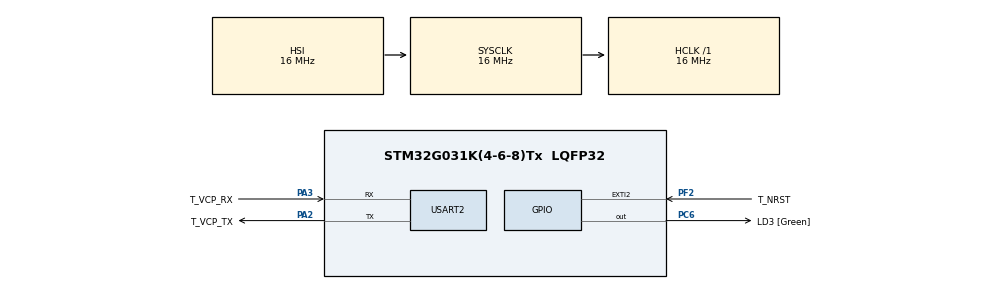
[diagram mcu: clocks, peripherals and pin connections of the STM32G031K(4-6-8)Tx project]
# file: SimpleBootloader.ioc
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Mcu.Family=STM32G0
Mcu.Name=STM32G031K(4-6-8)Tx
Mcu.Package=LQFP32
PA13.GPIO_Label=T_JTMS
PA13.Mode=Serial_Wire
PA13.Signal=SYS_SWDIO
PA14-BOOT0.GPIO_Label=T_JTCK
PA14-BOOT0.Mode=Serial_Wire
PA14-BOOT0.Signal=SYS_SWCLK
PA2.GPIO_Label=T_VCP_TX
PA2.GPIO_PuPd=GPIO_PULLUP
PA2.Mode=Asynchronous
PA2.Signal=USART2_TX
PA3.GPIO_Label=T_VCP_RX
PA3.GPIO_PuPd=GPIO_PULLUP
PA3.Mode=Asynchronous
PA3.Signal=USART2_RX
PC14-OSC32_IN\ (PC14).Mode=LSE-External-Oscillator
PC14-OSC32_IN\ (PC14).Signal=RCC_OSC32_IN
PC15-OSC32_OUT\ (PC15).Mode=LSE-External-Oscillator
PC15-OSC32_OUT\ (PC15).Signal=RCC_OSC32_OUT
PC6.GPIO_Label=LD3 [Green]
PC6.Signal=GPIO_Output
PF2\ -\ NRST.GPIO_Label=T_NRST
PF2\ -\ NRST.Signal=GPXTI2
ProjectManager.HeapSize=0x200
ProjectManager.StackSize=0x400
ProjectManager.TargetToolchain=STM32CubeIDE
RCC.AHBFreq_Value=16000000
RCC.CortexFreq_Value=16000000
RCC.EXTERNAL_CLOCK_VALUE=12288000
RCC.HCLKFreq_Value=16000000
RCC.HSE_VALUE=8000000
RCC.HSI_VALUE=16000000
RCC.SYSCLKFreq_VALUE=16000000
RCC.VCOOutputFreq_Value=128000000
USART2.VirtualMode-Asynchronous=VM_ASYNC
USART2.WordLength=WORDLENGTH_7B
board=NUCLEO-G031K8

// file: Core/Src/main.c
/* USER CODE BEGIN Header */
/**
  ******************************************************************************
  * @file           : main.c
  * @brief          : Main program body
  ******************************************************************************
  * @attention
  *
  * Copyright (c) 2026 STMicroelectronics.
  * All rights reserved.
  *
  * This software is licensed under terms that can be found in the LICENSE file
  * in the root directory of this software component.
  * If no LICENSE file comes with this software, it is provided AS-IS.
  *
  ******************************************************************************
  */
/* USER CODE END Header */
#include "main.h"

/* USER CODE BEGIN Includes */
#include "stdio.h"
/* USER CODE END Includes */

UART_HandleTypeDef huart2;

/* USER CODE BEGIN PV */
unsigned char __attribute__((section(".myBufSectionRAM"))) buf_ram[128];
unsigned char __attribute__((section(".myBufSectionFLASH"))) buf_flash[10] = { 0, 1, 2, 3, 4, 5, 6, 7, 8, 9};

#define LOCATE_FUNC __attribute__((section(".mysection")))
#define FLASH_APP_ADDR 0x8008000

struct BootloaderSharedAPI
{
	void(*Blink)(uint32_t delayticks);
	void(*TurnOn)(void);
	void(*TurnOff)(void);
};
/* USER CODE END PV */

void SystemClock_Config(void);
static void MX_GPIO_Init(void);
static void MX_USART2_UART_Init(void);
/* USER CODE BEGIN PFP */
void LOCATE_FUNC Blink(uint32_t delayticks);
void LOCATE_FUNC TurnOn(void);
void LOCATE_FUNC TurnOff(void);

void goToApplication(void);

static void (*Functions[])(uint32_t delayticks) =
{
		Blink
};
/* USER CODE END PFP */

/* USER CODE BEGIN 0 */
struct BootloaderSharedAPI api __attribute__((section(".API_SHARED"))) =
{
		Blink,
		TurnOn,
		TurnOff
};

void LOCATE_FUNC Blink(uint32_t delayticks)
{
	HAL_GPIO_TogglePin(LD3_GPIO_Port,LD3_Pin);
	HAL_Delay(delayticks);
}

void LOCATE_FUNC TurnOn(void)
{
	HAL_GPIO_WritePin(LD3_GPIO_Port, LD3_Pin, GPIO_PIN_SET);
}

void LOCATE_FUNC TurnOff(void)
{
	HAL_GPIO_WritePin(LD3_GPIO_Port, LD3_Pin, GPIO_PIN_RESET);
}

void goToApplication(void)
{
	uint32_t JumpAddress;
	void (*Jump_To_Application)(void);
	printf("BOOTLOADER Start \r\n");

	/* Check if there is something installed in the app flash region */
	if(((*(uint32_t*) FLASH_APP_ADDR) & 0x2FFE0000) == 0x20000000)
	{
		printf("APP Start ... \r\n");
		HAL_Delay(100);
		//jump to the application
		JumpAddress = *(uint32_t*) (FLASH_APP_ADDR + 4); // address of Reset_Handler in app
		Jump_To_Application = (void*)JumpAddress;
		//initialize stack pointer
		__set_MSP(*(uint32_t*)FLASH_APP_ADDR);
		Jump_To_Application();
	}
	else
	{
		//there is no application installed
		printf("No APP found \r\n");
	}
}

void __attribute__((__section__(".RamFunc"))) TurnOnLED(GPIO_PinState PinState)
{
	if(PinState != GPIO_PIN_RESET)
	{
		LD3_GPIO_Port->BSRR = (uint32_t)LD3_Pin;
	}
	else
	{
		LD3_GPIO_Port->BRR = (uint32_t)LD3_Pin;
	}
}

int _write(int file, char *ptr, int len)
{
	int DataIdx;

	for(DataIdx=0; DataIdx<len; DataIdx++)
	{
		HAL_UART_Transmit(&huart2, (uint8_t *)ptr++, 1, 100);
	}
	return len;
}
/* USER CODE END 0 */

int main(void)
{

  /* MCU Configuration--------------------------------------------------------*/

  /* Reset of all peripherals, Initializes the Flash interface and the Systick. */
  HAL_Init();

  /* Configure the system clock */
  SystemClock_Config();

  /* Initialize all configured peripherals */
  MX_GPIO_Init();
  MX_USART2_UART_Init();

  /* Infinite loop */
  while (1)
  {
	  //Blink(500);
	  //TurnOnLED(GPIO_PIN_SET);
	  //Functions[0](100);
	  goToApplication();
  }
}

void SystemClock_Config(void)
{
  RCC_OscInitTypeDef RCC_OscInitStruct = {0};
  RCC_ClkInitTypeDef RCC_ClkInitStruct = {0};

  /** Configure the main internal regulator output voltage
  */
  HAL_PWREx_ControlVoltageScaling(PWR_REGULATOR_VOLTAGE_SCALE1);

  /** Initializes the RCC Oscillators according to the specified parameters
  * in the RCC_OscInitTypeDef structure.
  */
  RCC_OscInitStruct.OscillatorType = RCC_OSCILLATORTYPE_HSI;
  RCC_OscInitStruct.HSIState = RCC_HSI_ON;
  RCC_OscInitStruct.HSIDiv = RCC_HSI_DIV1;
  RCC_OscInitStruct.HSICalibrationValue = RCC_HSICALIBRATION_DEFAULT;
  RCC_OscInitStruct.PLL.PLLState = RCC_PLL_NONE;
  if (HAL_RCC_OscConfig(&RCC_OscInitStruct) != HAL_OK)
  {
    Error_Handler();
  }

  /** Initializes the CPU, AHB and APB buses clocks
  */
  RCC_ClkInitStruct.ClockType = RCC_CLOCKTYPE_HCLK|RCC_CLOCKTYPE_SYSCLK
                              |RCC_CLOCKTYPE_PCLK1;
  RCC_ClkInitStruct.SYSCLKSource = RCC_SYSCLKSOURCE_HSI;
  RCC_ClkInitStruct.AHBCLKDivider = RCC_SYSCLK_DIV1;
  RCC_ClkInitStruct.APB1CLKDivider = RCC_HCLK_DIV1;

  if (HAL_RCC_ClockConfig(&RCC_ClkInitStruct, FLASH_LATENCY_0) != HAL_OK)
  {
    Error_Handler();
  }
}

static void MX_USART2_UART_Init(void)
{

  huart2.Instance = USART2;
  huart2.Init.BaudRate = 115200;
  huart2.Init.WordLength = UART_WORDLENGTH_7B;
  huart2.Init.StopBits = UART_STOPBITS_1;
  huart2.Init.Parity = UART_PARITY_NONE;
  huart2.Init.Mode = UART_MODE_TX_RX;
  huart2.Init.HwFlowCtl = UART_HWCONTROL_NONE;
  huart2.Init.OverSampling = UART_OVERSAMPLING_16;
  huart2.Init.OneBitSampling = UART_ONE_BIT_SAMPLE_DISABLE;
  huart2.Init.ClockPrescaler = UART_PRESCALER_DIV1;
  huart2.AdvancedInit.AdvFeatureInit = UART_ADVFEATURE_NO_INIT;
  if (HAL_UART_Init(&huart2) != HAL_OK)
  {
    Error_Handler();
  }

}

static void MX_GPIO_Init(void)
{
  GPIO_InitTypeDef GPIO_InitStruct = {0};

  /* GPIO Ports Clock Enable */
  __HAL_RCC_GPIOC_CLK_ENABLE();
  __HAL_RCC_GPIOF_CLK_ENABLE();
  __HAL_RCC_GPIOA_CLK_ENABLE();

  /*Configure GPIO pin Output Level */
  HAL_GPIO_WritePin(LD3_GPIO_Port, LD3_Pin, GPIO_PIN_RESET);

  /*Configure GPIO pin : T_NRST_Pin */
  GPIO_InitStruct.Pin = T_NRST_Pin;
  GPIO_InitStruct.Mode = GPIO_MODE_IT_RISING;
  GPIO_InitStruct.Pull = GPIO_NOPULL;
  HAL_GPIO_Init(T_NRST_GPIO_Port, &GPIO_InitStruct);

  /*Configure GPIO pin : LD3_Pin */
  GPIO_InitStruct.Pin = LD3_Pin;
  GPIO_InitStruct.Mode = GPIO_MODE_OUTPUT_PP;
  GPIO_InitStruct.Pull = GPIO_NOPULL;
  GPIO_InitStruct.Speed = GPIO_SPEED_FREQ_LOW;
  HAL_GPIO_Init(LD3_GPIO_Port, &GPIO_InitStruct);

}

void Error_Handler(void)
{
  __disable_irq();
  while (1)
  {
  }
}
